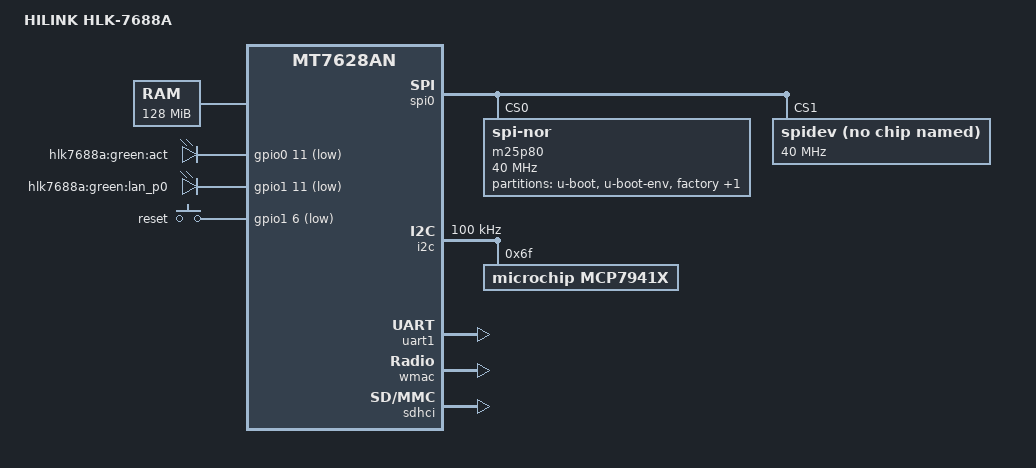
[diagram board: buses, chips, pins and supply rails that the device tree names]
/dts-v1/;

#include "mt7628an.dtsi"

#include <dt-bindings/input/input.h>
#include <dt-bindings/gpio/gpio.h>

/ {
	compatible = "hilink,hlk7688a", "mediatek,mt7628an-soc";
	model = "HILINK HLK-7688A";

	chosen {
		bootargs = "console=ttyS0,115200";
	};

	aliases {
		serial0 = &uartlite;

		led-boot = &act_led;
		led-failsafe = &act_led;
		led-running = &act_led;
		led-upgrade = &act_led;
	};

	memory@0 {
		device_type = "memory";
		reg = <0x0 0x8000000>;
	};

	gpio-leds {
		compatible = "gpio-leds";

		act_led: act {
			label = "hlk7688a:green:act";
			gpios = <&gpio0 11 GPIO_ACTIVE_LOW>;
		};

		lan_p0 {
			label = "hlk7688a:green:lan_p0";
			gpios = <&gpio1 11 GPIO_ACTIVE_LOW>;
		};
	};

	gpio-keys-polled {
		compatible = "gpio-keys-polled";
		poll-interval = <20>;		

		wps {
			label = "reset";
			gpios = <&gpio1 6 GPIO_ACTIVE_LOW>;
			linux,code = <KEY_WPS_BUTTON>;
		};
	};

	wgpio: gpio-wifi {
		compatible = "mediatek,gpio-wifi";
		#address-cells = <1>;
		#size-cells = <0>;
		gpio-controller;
		#gpio-cells = <2>;
	};
};

&pinctrl {
	state_default: pinctrl0 {
		gpio {
			ralink,group = "gpio", "perst", "refclk", "i2s", "spis", "pwm0", "pwm1";
			ralink,function = "gpio";
		};

		wled_an {
			ralink,group = "wled_an";
			ralink,function = "wled_an"; 
		};

		p0led_an {
			ralink,group = "p0led_an";
			ralink,function = "gpio";
		};

		p1led_an {
			ralink,group = "p1led_an";
			ralink,function = "gpio";
		};

		p2led_an {
			ralink,group = "p2led_an";
			ralink,function = "gpio";
		};

		p3led_an {
			ralink,group = "p3led_an";
			ralink,function = "gpio";
		};

		p4led_an {
			ralink,group = "p4led_an";
			ralink,function = "gpio";
		};

		wdt {
			ralink,group = "wdt";
			ralink,function = "gpio";
		};

		uart2 {
			ralink,group = "uart2";
			ralink,function = "gpio";
		};
	};
};

&spi0 {
	status = "okay";

	pinctrl-names = "default";
	pinctrl-0 = <&spi_pins>, <&spi_cs1_pins>;

	m25p80@0 {
		compatible = "jedec,spi-nor";
		reg = <0>;
		spi-max-frequency = <40000000>;
		m25p,chunked-io = <31>;

		partitions {
			compatible = "fixed-partitions";
			#address-cells = <1>;
			#size-cells = <1>;

			partition@0 {
				label = "u-boot";
				reg = <0x0 0x30000>;
				read-only;
			};

			partition@30000 {
				label = "u-boot-env";
				reg = <0x30000 0x10000>;
			};

			factory: partition@40000 {
				label = "factory";
				reg = <0x40000 0x10000>;
				read-only;
			};

			partition@50000 {
				compatible = "denx,uimage";
				label = "firmware";
				reg = <0x50000 0x1fb0000>;
			};
		};
	};

	spidev@1 {
		#address-cells = <1>;
		#size-cells = <1>;
		compatible = "linux,spidev";
		reg = <1>;
		spi-max-frequency = <40000000>;
	};
};

&i2c {
	status = "okay";
	clock-frequency = <100000>;

	/* RTC - MCP794x */
	mcp7941x: mcp7941x@6f {
		compatible = "microchip,mcp7941x";
		reg = <0x6f>;
	};
};

&uart1 {
	status = "okay";
};

&uart2 {
	status = "disabled";
};

&gdma {
	status = "okay";
};

&ethernet {
	mtd-mac-address = <&factory 0x28>;   /* lan@0x28=wifi@0x04; wan@0x2e  */
};

&esw {
	/* mediatek,portmap = <0x11>; */
	mediatek,portdisable = <0x3e>;
};

&wmac {
	status = "okay";
};

&sdhci {
	status = "okay";
	mediatek,cd-low;
};
